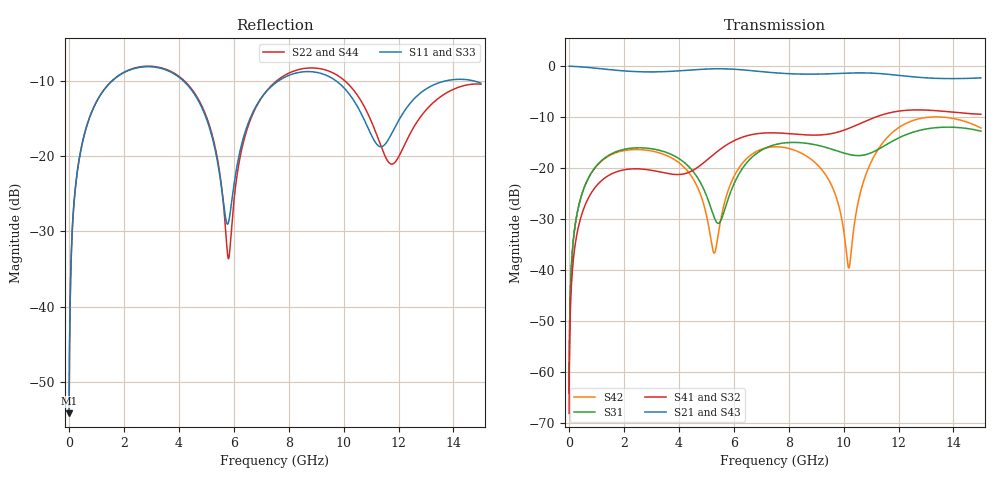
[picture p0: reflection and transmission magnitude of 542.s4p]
! Created with skrf 1.8.0 (http://scikit-rf.org).
# GHz S RI R 50.0
!freq ReS11 ImS11 ReS12 ImS12 ReS13 ImS13
! ReS14 ImS14
! ReS21 ImS21 ReS22 ImS22 ReS23 ImS23
! ReS24 ImS24
! ReS31 ImS31 ReS32 ImS32 ReS33 ImS33
! ReS34 ImS34
! ReS41 ImS41 ReS42 ImS42 ReS43 ImS43
! ReS44 ImS44
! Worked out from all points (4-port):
!   2499 points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, 5 MHz to 15 GHz, reference 50 ohm
!   strongest paths, dB at 5 MHz, 3.476 GHz, 7.19 GHz, 11.1 GHz, 15 GHz:
!     S21: 0.0, -1.1, -1.2, -1.4, -2.3
!     S43: 0.0, -1.1, -1.2, -1.4, -2.3
!     S41: -68.2, -21.0, -13.1, -10.1, -9.4
!     S32: -68.2, -21.0, -13.1, -10.1, -9.4
!     S31: -64.2, -16.8, -16.0, -16.8, -12.8
!     S42: -64.2, -17.4, -16.0, -17.8, -12.2
!   lowest |S11| = -54.2 dB at 5 MHz (marker M1), VSWR 1.00, Z = 50.2 + j0.118 ohm
!   |S11| at or under -10 dB: start of sweep to 1.573 GHz; 4.166 GHz to 7.629 GHz (3.463 GHz wide, 58.7 % of centre); 9.726 GHz to 13.72 GHz (3.99 GHz wide, 34 % of centre) (the widest 3 of 4)
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0.005  0.00155 0.00118  0.9984 -0.00302  7.76e-05 0.000609  -7.53e-05 -0.000383
       0.9984 -0.00302  0.00155 0.00118  -7.53e-05 -0.000383  7.74e-05 0.000609
       7.76e-05 0.000609  -7.53e-05 -0.000383  0.00155 0.00118  0.9984 -0.00302
       -7.53e-05 -0.000383  7.74e-05 0.000609  0.9984 -0.00302  0.00155 0.00118
0.3126303  0.0219 0.0781  0.9701 -0.1884  0.0102 0.0363  -0.00823 -0.0227
           0.9701 -0.1884  0.022 0.078  -0.00823 -0.0227  0.00954 0.0364
           0.0102 0.0363  -0.00823 -0.0227  0.0219 0.0781  0.9701 -0.1884
           -0.00823 -0.0227  0.00954 0.0364  0.9701 -0.1884  0.022 0.0781
1.519383  0.2463 0.1875  0.5975 -0.7002  0.122 0.0614  -0.0855 -0.014
          0.5975 -0.7002  0.2489 0.186  -0.0855 -0.014  0.1135 0.0715
          0.122 0.0614  -0.0855 -0.014  0.2462 0.1875  0.5976 -0.7002
          -0.0855 -0.014  0.1135 0.0715  0.5976 -0.7002  0.2489 0.186
5.80867  0.0357 0.00649  -0.9363 -0.0471  -0.0116 0.0494  -0.00435 0.1728
         -0.9363 -0.0471  0.0207 -0.00109  -0.00348 0.1727  0.0234 0.0568
         -0.0116 0.0494  -0.00348 0.1727  0.0378 0.0073  -0.9363 -0.0471
         -0.00435 0.1728  0.0234 0.0568  -0.9363 -0.0471  0.0185 -0.000329
8.997499  0.3596 -0.0275  0.0251 0.8334  0.0984 -0.1364  0.2029 -0.0543
          0.0251 0.8334  0.3818 -0.0437  0.2024 -0.0552  0.1044 -0.0368
          0.0984 -0.1364  0.2024 -0.0552  0.3587 -0.0301  0.0241 0.8339
          0.2029 -0.0543  0.1044 -0.0368  0.0241 0.8339  0.3812 -0.04
10.19175  0.2266 -0.1287  0.516 0.6803  -0.0755 -0.113  0.1914 -0.1527
          0.516 0.6803  0.2407 -0.1762  0.1905 -0.1536  0.00849 0.00602
          -0.0755 -0.113  0.1905 -0.1536  0.2244 -0.1293  0.5155 0.6813
          0.1914 -0.1527  0.00849 0.00602  0.5155 0.6813  0.2411 -0.173
15  0.2865 -0.1051  0.0148 -0.7661  0.1934 -0.1237  -0.3272 0.0808
    0.0148 -0.7661  0.2932 -0.0671  -0.3264 0.0838  0.226 -0.0985
    0.1934 -0.1237  -0.3264 0.0838  0.2835 -0.1058  0.0186 -0.7671
    -0.3272 0.0808  0.226 -0.0985  0.0186 -0.7671  0.2913 -0.0629
